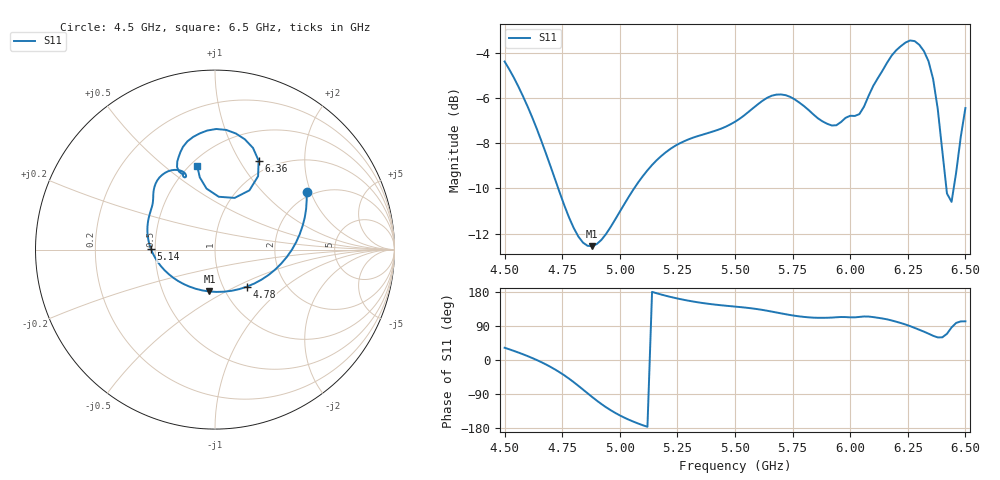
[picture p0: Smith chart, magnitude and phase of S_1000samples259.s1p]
! TOUCHSTONE file generated by CST MICROWAVE STUDIO
! Date and time: Thu Oct 27 13:26:17 2022
! Project name: L.cst
! Parameters = {Di=1.27; Epsilon_r=1.56; InnerDiameter=1.27; Length=2; Lf=10; Lg=60; OuterConductorThickness=0.2921; OuterDiameter=3.6; Wf=3; Wp=41.2; de=1.5; df=6.8; g=0.8; gx=2.82258; gy=0.661504; h=2.34; hf=1.524; px=13.9392; py=10.8305; w=9.7; wx=11.1166; wy=10.169}
! Header version: 2018
! Port assignment regex: !\s*Touchstone port\s*([0-9]+)\s*=\s*(CST MWS port|CST DS port)\s*([0-9]+|Zmin|Zmax)\s*\(\"(.*)\"\)(\s*mode\s*([0-9]+))?.*
! Touchstone port assignment:
! Touchstone port 1 = CST MWS port 1 ("")
# GHz S DB R 50
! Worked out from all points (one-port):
!   101 points, 4.5 GHz to 6.5 GHz, reference 50 ohm
!   lowest |S11| = -12.6 dB at 4.88 GHz (marker M1), VSWR 1.62, Z = 42.2 - j20.9 ohm
!   |S11| at or under -10 dB: 4.733 GHz to 5.062 GHz (329.5 MHz wide, 6.73 % of centre); 6.417546 GHz to 6.449152 GHz (31.61 MHz wide, 0.491 % of centre)
!   S11 on the Smith chart (normalised r, x): 4.5 GHz: 1.85, +1.88; 4.78 GHz: 1.29, -0.57; 5.14 GHz: 0.47, +0.00; 6.36 GHz: 0.85, +1.21; 6.5 GHz: 0.54, +0.65
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4.5  -4.38 32.3
4.56  -5.50 19.7
4.62  -6.86 5.2
4.7  -9.04 -18.4
4.76  -10.78 -40.8
4.78  -11.30 -49.4
4.88  -12.56 -97.6
5  -11.03 -146.1
5.14  -8.97 179.8
5.26  -8.01 161.0
5.5  -7.05 140.9
5.64  -5.99 129.9
5.76  -6.07 116.7
5.86  -6.90 111.3
5.94  -7.21 112.8
6  -6.79 112.6
6.06  -6.38 114.8
6.14  -4.79 109.6
6.2  -3.88 101.0
6.26  -3.45 89.4
6.32  -3.92 74.8
6.36  -5.16 63.9
6.38  -6.48 59.6
6.4  -8.36 59.8
6.42  -10.23 69.2
6.44  -10.60 85.9
6.46  -9.29 97.9
6.5  -6.44 102.0
